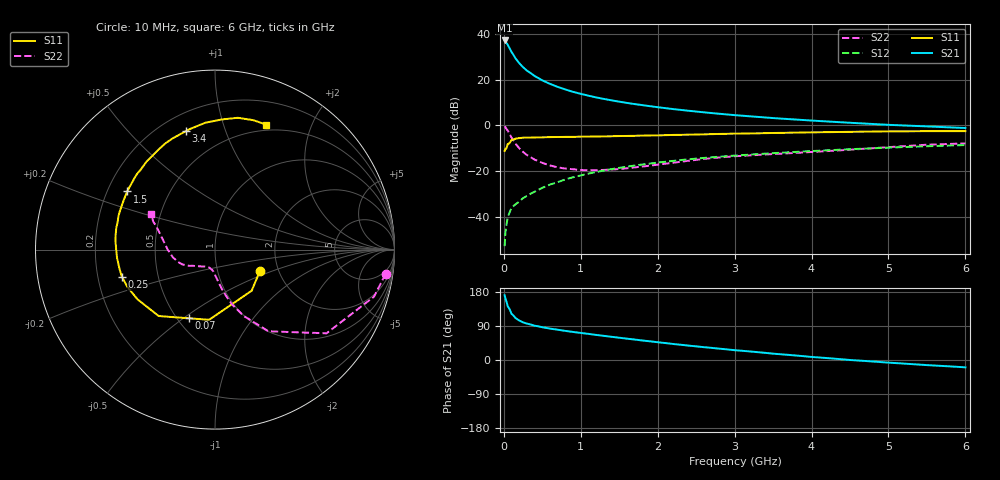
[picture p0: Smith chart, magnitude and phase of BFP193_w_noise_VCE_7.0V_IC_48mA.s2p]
! Infineon Technologies  Discrete & RF Semiconductors
! BFP193
! VCE =  7.0 V,  IC =  48 mA
! Common Emitter S-Parameters:  Jan 2017
# GHz  S  MA  R  50
!  f  S11  S21  S12  S22
! GHz  MAG  ANG  MAG  ANG  MAG  ANG  MAG  ANG
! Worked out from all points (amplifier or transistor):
!   77 points, 10 MHz to 6 GHz, reference 50 ohm
!   highest |S21| = 37.2 dB at 10 MHz (marker M1)
!   |S21| within 3 dB of that: start of sweep to 68.34 MHz
!   unconditionally stable (mu >= 1): 617 MHz to 2.399 GHz
!   at 130 MHz: K = 0.58, MSG = 32.8 dB, |S12| = -35.1 dB
!   at 2.2 GHz: K = 1.01, MAG = 10.8 dB, |S12| = -15.5 dB
!   at 6 GHz: K = 0.92, MSG = 3.7 dB, |S12| = -8.6 dB
!   lowest NFmin = 1.49 dB at 450 MHz
!   S11 on the Smith chart (normalised r, x): 10 MHz: 1.60, -0.41; 70 MHz: 0.57, -0.52; 250 MHz: 0.30, -0.13; 1.5 GHz: 0.28, +0.28; 3.4 GHz: 0.30, +0.74; 6 GHz: 0.44, +1.40
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0.01  0.2771 -25.2  72.24 170.8  0.0023 87.7  0.9603 -8.1
0.02  0.307 -48.3  70.54 162.8  0.0044 81.9  0.9238 -16.5
0.05  0.3925 -94.8  58.33 142.1  0.0096 68.6  0.7769 -36.9
0.07  0.4093 -110.8  50.52 135.7  0.012 64.2  0.6748 -43.2
0.1  0.4852 -130.3  40.55 121.8  0.0157 60.2  0.5439 -56.8
0.15  0.513 -147.3  29.6 110.9  0.0188 57.4  0.4029 -66.6
0.2  0.5302 -156.8  23.07 104.2  0.0218 61.4  0.319 -72.8
0.25  0.5406 -163.7  18.8 99.3  0.0258 62.2  0.2641 -76.6
0.3  0.5426 -168.3  15.81 96.0  0.029 62.7  0.2262 -79.8
0.4  0.5478 -175.2  12.05 90.5  0.0356 66.3  0.1794 -84.3
0.5  0.5513 179.2  9.684 86.5  0.0433 67.1  0.1524 -88.0
0.6  0.5571 174.8  8.122 82.9  0.051 67.2  0.1337 -91.9
0.7  0.56 171.1  6.974 79.9  0.0577 68.0  0.1213 -94.7
0.9  0.5638 164.1  5.436 74.0  0.0738 67.3  0.1105 -101.6
1.1  0.5718 157.9  4.482 68.9  0.0887 65.9  0.1055 -108.3
1.5  0.5873 146.5  3.312 58.8  0.1186 62.1  0.1118 -123.1
2.1  0.614 130.4  2.395 44.7  0.1613 55.0  0.1461 -141.3
3.1  0.6662 109.1  1.635 24.3  0.2253 42.5  0.2172 -162.0
3.4  0.6799 103.7  1.496 18.8  0.2426 39.1  0.2323 -167.6
4.1  0.7118 92.7  1.253 6.6  0.2813 30.9  0.2691 177.7
5.1  0.7459 78.9  1.017 -8.2  0.3326 19.5  0.3446 159.6
6  0.7529 67.7  0.881 -19.4  0.3734 9.4  0.4063 151.0
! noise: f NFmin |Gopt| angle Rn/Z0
0.45  1.49  0.42  -171  0.08
0.9  1.54  0.44  -164  0.08
1.9  2.17  0.61  -132  0.22
2.4  2.5  0.64  -119  0.47
